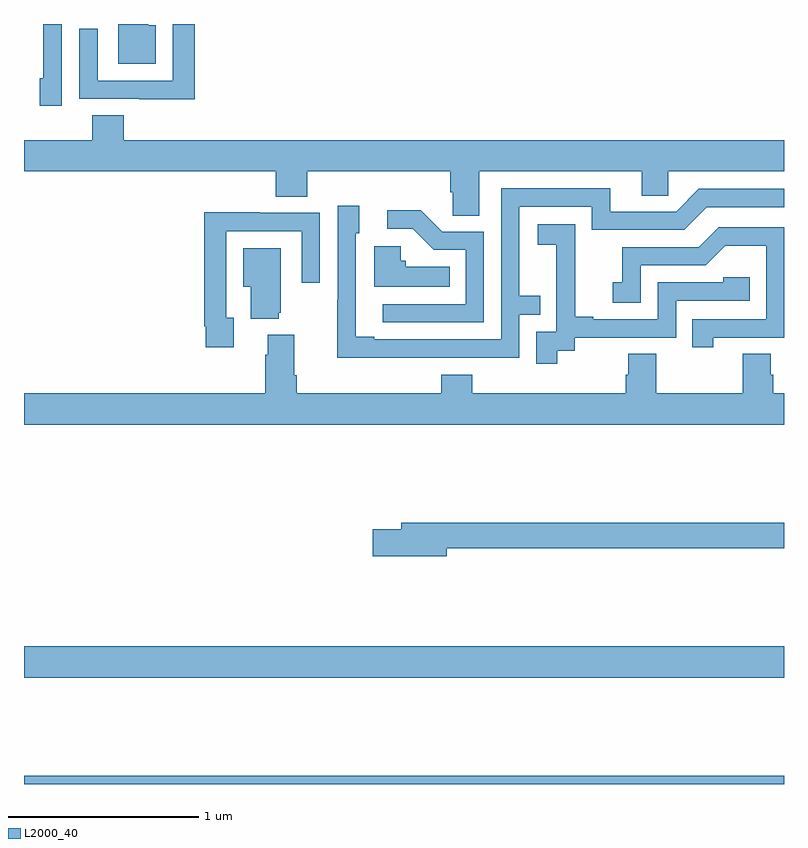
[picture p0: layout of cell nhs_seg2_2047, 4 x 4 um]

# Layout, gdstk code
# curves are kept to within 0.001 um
import gdstk
lib = gdstk.Library(unit=1e-6, precision=1e-09)
def R(c, l, rs):  # rectangles x0, y0, x1, y1
    for r in rs: c.add(gdstk.rectangle(r[:2], r[2:], *l))
def P(c, l, *ps):  # polygons
    for p in ps: c.add(gdstk.Polygon(p, *l))
L2000_40 = (2000, 40)

nhs_seg2_2047 = lib.new_cell('nhs_seg2_2047')
R(nhs_seg2_2047, L2000_40, [(219,589.8,223,589.844), (219,590.36,223,590.524)])
P(nhs_seg2_2047, L2000_40, [(219.899,593.8),(219.783,593.8),(219.783,593.502),(219.387,593.502),(219.387,593.776),(219.291,593.776),(219.291,593.406),(219.607,593.406),(219.607,593.405),(219.899,593.405)],
  [(219.694,593.794),(219.655,593.794),(219.655,593.8),(219.497,593.8),(219.497,593.591),(219.694,593.591)],
  [(219.198,593.8),(219.102,593.8),(219.102,593.514),(219.083,593.514),(219.083,593.37),(219.198,593.37)],
  [(221.395,593.024),(222.251,593.024),(222.251,592.897),(222.39,592.897),(222.39,593.024),(223,593.024),(223,593.188),(219.524,593.188),(219.524,593.321),(219.359,593.321),(219.359,593.188),(219,593.188),(219,593.024),(220.325,593.024),(220.325,592.891),(220.49,592.891),(220.49,593.024),(221.243,593.024),(221.243,592.915),(221.256,592.915),(221.256,592.792),(221.395,592.792)],
  [(221.111,592.044),(221.607,592.044),(221.607,592.269),(221.717,592.269),(221.717,592.37),(221.607,592.37),(221.607,592.839),(221.988,592.839),(221.988,592.716),(222.474,592.716),(222.594,592.836),(223,592.836),(223,592.932),(222.552,592.932),(222.432,592.812),(222.085,592.812),(222.085,592.935),(221.511,592.935),(221.511,592.14),(220.843,592.14),(220.843,592.153),(220.746,592.153),(220.746,592.698),(220.765,592.698),(220.765,592.843),(220.65,592.843),(220.65,592.349),(220.648,592.349),(220.648,592.043)],
  [(221.421,592.707),(221.202,592.707),(221.089,592.82),(220.911,592.82),(220.911,592.722),(221.045,592.722),(221.156,592.611),(221.325,592.611),(221.325,592.326),(220.887,592.326),(220.887,592.23),(221.421,592.23)],
  [(220.105,592.254),(220.065,592.254),(220.065,592.71),(220.461,592.71),(220.461,592.437),(220.557,592.437),(220.557,592.806),(220.241,592.806),(220.241,592.808),(219.949,592.808),(219.949,592.21),(219.957,592.21),(219.957,592.098),(220.105,592.098)],
  [(221.806,592.081),(221.898,592.081),(221.898,592.149),(222.432,592.149),(222.432,592.344),(222.821,592.344),(222.821,592.467),(222.681,592.467),(222.681,592.44),(222.336,592.44),(222.336,592.245),(221.995,592.245),(221.995,592.258),(221.9,592.258),(221.9,592.541),(221.901,592.541),(221.901,592.747),(221.703,592.747),(221.703,592.637),(221.801,592.637),(221.801,592.409),(221.802,592.409),(221.802,592.179),(221.697,592.179),(221.697,592.011),(221.806,592.011)],
  [(222.628,592.149),(223,592.149),(223,592.731),(222.656,592.731),(222.551,592.626),(222.148,592.626),(222.148,592.441),(222.099,592.441),(222.099,592.332),(222.246,592.332),(222.246,592.53),(222.588,592.53),(222.692,592.634),(222.906,592.634),(222.906,592.245),(222.517,592.245),(222.517,592.098),(222.628,592.098)],
  [(221.24,592.522),(221.01,592.522),(221.01,592.554),(220.983,592.554),(220.983,592.63),(220.844,592.63),(220.844,592.418),(221.24,592.418)],
  [(220.34,592.281),(220.351,592.281),(220.351,592.621),(220.154,592.621),(220.154,592.418),(220.193,592.418),(220.193,592.25),(220.34,592.25)],
  [(223,591.856),(222.944,591.856),(222.944,591.954),(222.931,591.954),(222.931,592.064),(222.784,592.064),(222.784,591.856),(222.327,591.856),(222.327,592.064),(222.179,592.064),(222.179,591.954),(222.167,591.954),(222.167,591.856),(221.36,591.856),(221.36,591.955),(221.195,591.955),(221.195,591.856),(220.436,591.856),(220.436,591.952),(220.423,591.952),(220.423,592.165),(220.283,592.165),(220.283,592.058),(220.271,592.058),(220.271,591.856),(219,591.856),(219,591.692),(223,591.692)],
  [(221.224,591.04),(223,591.04),(223,591.176),(220.985,591.176),(220.985,591.14),(220.836,591.14),(220.836,590.998),(221.224,590.998)])

lib.write_gds('nhs_seg2_2047.gds')
